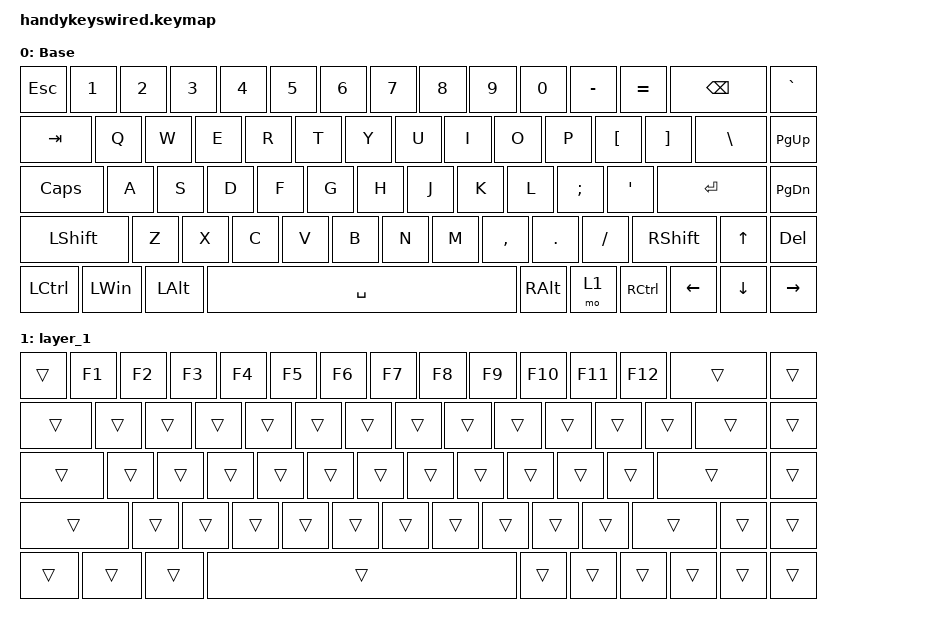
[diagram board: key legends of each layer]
#include <behaviors.dtsi>
#include <dt-bindings/zmk/keys.h>

/ {
    keymap {
        compatible = "zmk,keymap";

        default_layer {
            display-name = "Base";
            bindings = <
&kp ESC           &kp NUMBER_1  &kp NUMBER_2  &kp NUMBER_3  &kp NUMBER_4   &kp N5  &kp NUMBER_6       &kp N7    &kp N8          &kp N9     &kp N0         &kp MINUS         &kp EQUAL          &kp BACKSPACE                &kp GRAVE
&kp TAB           &kp Q         &kp W         &kp E         &kp R          &kp T   &kp Y              &kp U     &kp I           &kp O      &kp P          &kp LEFT_BRACKET  &kp RIGHT_BRACKET  &kp BACKSLASH  &kp PAGE_UP
&kp CAPSLOCK      &kp A         &kp S         &kp D         &kp F          &kp G   &kp H              &kp J     &kp K           &kp L      &kp SEMICOLON  &kp SQT           &kp ENTER          &kp PAGE_DOWN
&kp LEFT_SHIFT                  &kp Z         &kp X         &kp C          &kp V   &kp B              &kp N     &kp M           &kp COMMA  &kp PERIOD     &kp SLASH         &kp RIGHT_SHIFT                   &kp UP_ARROW  &kp DEL
&kp LEFT_CONTROL  &kp LEFT_WIN  &kp LEFT_ALT  &kp SPACE     &kp RIGHT_ALT  &mo 1   &kp RIGHT_CONTROL  &kp LEFT  &kp DOWN_ARROW  &kp RIGHT
            >;
        };

        layer_1 {
            bindings = <
&trans  &kp F1  &kp F2  &kp F3  &kp F4  &kp F5  &kp F6  &kp F7  &kp F8  &kp F9  &kp F10  &kp F11  &kp F12  &trans          &trans
&trans  &trans  &trans  &trans  &trans  &trans  &trans  &trans  &trans  &trans  &trans   &trans   &trans   &trans  &trans
&trans  &trans  &trans  &trans  &trans  &trans  &trans  &trans  &trans  &trans  &trans   &trans   &trans   &trans
&trans          &trans  &trans  &trans  &trans  &trans  &trans  &trans  &trans  &trans   &trans   &trans           &trans  &trans
&trans  &trans  &trans  &trans  &trans  &trans  &trans  &trans  &trans  &trans
            >;
        };
    };
};
